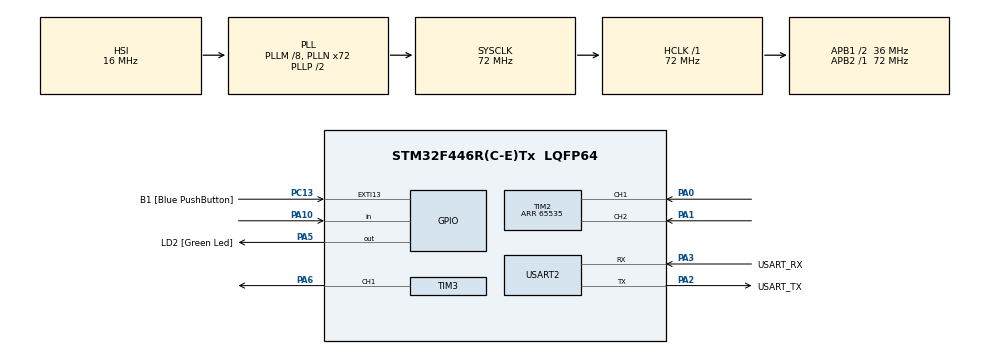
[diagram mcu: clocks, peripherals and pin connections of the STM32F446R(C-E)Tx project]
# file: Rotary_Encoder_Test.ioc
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Mcu.Family=STM32F4
Mcu.Name=STM32F446R(C-E)Tx
Mcu.Package=LQFP64
NVIC.PriorityGroup=NVIC_PRIORITYGROUP_0
PA0-WKUP.Signal=S_TIM2_CH1_ETR
PA1.Signal=S_TIM2_CH2
PA10.Signal=GPIO_Input
PA13.GPIO_Label=TMS
PA13.Mode=Serial_Wire
PA13.Signal=SYS_JTMS-SWDIO
PA14.GPIO_Label=TCK
PA14.Mode=Serial_Wire
PA14.Signal=SYS_JTCK-SWCLK
PA2.GPIO_Label=USART_TX
PA2.Mode=Asynchronous
PA2.Signal=USART2_TX
PA3.GPIO_Label=USART_RX
PA3.Mode=Asynchronous
PA3.Signal=USART2_RX
PA5.GPIO_Label=LD2 [Green Led]
PA5.Signal=GPIO_Output
PA6.Signal=S_TIM3_CH1
PB3.GPIO_Label=SWO
PB3.Signal=SYS_JTDO-SWO
PC13.GPIO_Label=B1 [Blue PushButton]
PC13.GPIO_ModeDefaultEXTI=GPIO_MODE_IT_FALLING
PC13.Signal=GPXTI13
PC14-OSC32_IN.Mode=LSE-External-Oscillator
PC14-OSC32_IN.Signal=RCC_OSC32_IN
PC15-OSC32_OUT.Mode=LSE-External-Oscillator
PC15-OSC32_OUT.Signal=RCC_OSC32_OUT
PH0-OSC_IN.Mode=HSE-External-Oscillator
PH0-OSC_IN.Signal=RCC_OSC_IN
PH1-OSC_OUT.Mode=HSE-External-Oscillator
PH1-OSC_OUT.Signal=RCC_OSC_OUT
ProjectManager.HeapSize=0x200
ProjectManager.StackSize=0x400
ProjectManager.TargetToolchain=STM32CubeIDE
RCC.48MHZClocksFreq_Value=84000000
RCC.AHBFreq_Value=72000000
RCC.APB1CLKDivider=RCC_HCLK_DIV2
RCC.APB1Freq_Value=36000000
RCC.APB1TimFreq_Value=72000000
RCC.APB2Freq_Value=72000000
RCC.APB2TimFreq_Value=72000000
RCC.CortexFreq_Value=72000000
RCC.FLatency-AdvancedSettings=FLASH_LATENCY_2
RCC.HCLKFreq_Value=72000000
RCC.HSE_VALUE=8000000
RCC.HSI_VALUE=16000000
RCC.PLLM=8
RCC.PLLN=72
RCC.SYSCLKFreq_VALUE=72000000
RCC.SYSCLKSource=RCC_SYSCLKSOURCE_PLLCLK
RCC.USBFreq_Value=72000000
RCC.VCOOutputFreq_Value=144000000
SH.S_TIM2_CH1_ETR.0=TIM2_CH1,Encoder_Interface
SH.S_TIM2_CH2.0=TIM2_CH2,Encoder_Interface
SH.S_TIM3_CH1.0=TIM3_CH1,PWM Generation1 CH1
TIM2.AutoReloadPreload=TIM_AUTORELOAD_PRELOAD_ENABLE
TIM2.EncoderMode=TIM_ENCODERMODE_TI12
TIM2.IC1Filter=10
TIM2.Period=65535
TIM3.AutoReloadPreload=TIM_AUTORELOAD_PRELOAD_ENABLE
TIM3.Channel-PWM\ Generation1\ CH1=TIM_CHANNEL_1
USART2.VirtualMode=VM_ASYNC
VP_TIM3_VS_ClockSourceINT.Mode=Internal
board=NUCLEO-F446RE

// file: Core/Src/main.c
/* USER CODE BEGIN Header */
/**
  ******************************************************************************
  * @file           : main.c
  * @brief          : Main program body
  ******************************************************************************
  * @attention
  *
  * Copyright (c) 2022 STMicroelectronics.
  * All rights reserved.
  *
  * This software is licensed under terms that can be found in the LICENSE file
  * in the root directory of this software component.
  * If no LICENSE file comes with this software, it is provided AS-IS.
  *
  ******************************************************************************
  */
/* USER CODE END Header */
#include "main.h"

 TIM_HandleTypeDef htim2;
TIM_HandleTypeDef htim3;

UART_HandleTypeDef huart2;

void SystemClock_Config(void);
static void MX_GPIO_Init(void);
static void MX_USART2_UART_Init(void);
static void MX_TIM2_Init(void);
static void MX_TIM3_Init(void);

int main(void)
{
  /* USER CODE BEGIN 1 */
  uint8_t serialMsg[50] = { 0 };
  uint16_t LED_DutyCycle = 0;
  /* USER CODE END 1 */

  /* MCU Configuration--------------------------------------------------------*/

  /* Reset of all peripherals, Initializes the Flash interface and the Systick. */
  HAL_Init();

  /* Configure the system clock */
  SystemClock_Config();

  /* Initialize all configured peripherals */
  MX_GPIO_Init();
  MX_USART2_UART_Init();
  MX_TIM2_Init();
  MX_TIM3_Init();
  /* USER CODE BEGIN 2 */
  HAL_TIM_Encoder_Start(&htim2, TIM_CHANNEL_ALL);
  HAL_TIM_PWM_Start(&htim3, TIM_CHANNEL_1);

  snprintf(serialMsg, sizeof(serialMsg), "Serial initialized\r\n");
  HAL_UART_Transmit(&huart2, serialMsg, sizeof(serialMsg), 100);
  /* USER CODE END 2 */

  /* Infinite loop */
  /* USER CODE BEGIN WHILE */
  while (1)
  {
	uint8_t* buttonState = "pressed";
	if (HAL_GPIO_ReadPin(GPIOA, GPIO_PIN_10)) {
		buttonState = "released";
	}

	// Note that the encoder has 4 increments between each "click" of its position. So we shift off the
	// last two bits when we're only interested in the number of clicks.
	snprintf(serialMsg, sizeof(serialMsg), "Encoder switch is %s, encoder value: %d\r\n",
			 buttonState, (int)((TIM2->CNT) >> 2));
	HAL_UART_Transmit(&huart2, serialMsg, sizeof(serialMsg), 100);

	// Operating range requires counter to be within 0-1023, otherwise just make it 0
	// This means plenty of error states but it's fine for a test project
	if(TIM2->CNT < 1023) {
		// Scale up the rotary encoder value to make its effect on the LED more visible
		LED_DutyCycle = ((TIM2->CNT)<<6);
	}
	TIM3->CCR1 = LED_DutyCycle;

	HAL_Delay(10);
    /* USER CODE END WHILE */

  }
}

void SystemClock_Config(void)
{
  RCC_OscInitTypeDef RCC_OscInitStruct = {0};
  RCC_ClkInitTypeDef RCC_ClkInitStruct = {0};

  /** Configure the main internal regulator output voltage
  */
  __HAL_RCC_PWR_CLK_ENABLE();
  __HAL_PWR_VOLTAGESCALING_CONFIG(PWR_REGULATOR_VOLTAGE_SCALE3);

  /** Initializes the RCC Oscillators according to the specified parameters
  * in the RCC_OscInitTypeDef structure.
  */
  RCC_OscInitStruct.OscillatorType = RCC_OSCILLATORTYPE_HSI;
  RCC_OscInitStruct.HSIState = RCC_HSI_ON;
  RCC_OscInitStruct.HSICalibrationValue = RCC_HSICALIBRATION_DEFAULT;
  RCC_OscInitStruct.PLL.PLLState = RCC_PLL_ON;
  RCC_OscInitStruct.PLL.PLLSource = RCC_PLLSOURCE_HSI;
  RCC_OscInitStruct.PLL.PLLM = 8;
  RCC_OscInitStruct.PLL.PLLN = 72;
  RCC_OscInitStruct.PLL.PLLP = RCC_PLLP_DIV2;
  RCC_OscInitStruct.PLL.PLLQ = 2;
  RCC_OscInitStruct.PLL.PLLR = 2;
  if (HAL_RCC_OscConfig(&RCC_OscInitStruct) != HAL_OK)
  {
    Error_Handler();
  }

  /** Initializes the CPU, AHB and APB buses clocks
  */
  RCC_ClkInitStruct.ClockType = RCC_CLOCKTYPE_HCLK|RCC_CLOCKTYPE_SYSCLK
                              |RCC_CLOCKTYPE_PCLK1|RCC_CLOCKTYPE_PCLK2;
  RCC_ClkInitStruct.SYSCLKSource = RCC_SYSCLKSOURCE_PLLCLK;
  RCC_ClkInitStruct.AHBCLKDivider = RCC_SYSCLK_DIV1;
  RCC_ClkInitStruct.APB1CLKDivider = RCC_HCLK_DIV2;
  RCC_ClkInitStruct.APB2CLKDivider = RCC_HCLK_DIV1;

  if (HAL_RCC_ClockConfig(&RCC_ClkInitStruct, FLASH_LATENCY_2) != HAL_OK)
  {
    Error_Handler();
  }
}

static void MX_TIM2_Init(void)
{

  TIM_Encoder_InitTypeDef sConfig = {0};
  TIM_MasterConfigTypeDef sMasterConfig = {0};

  htim2.Instance = TIM2;
  htim2.Init.Prescaler = 0;
  htim2.Init.CounterMode = TIM_COUNTERMODE_UP;
  htim2.Init.Period = 65535;
  htim2.Init.ClockDivision = TIM_CLOCKDIVISION_DIV1;
  htim2.Init.AutoReloadPreload = TIM_AUTORELOAD_PRELOAD_ENABLE;
  sConfig.EncoderMode = TIM_ENCODERMODE_TI12;
  sConfig.IC1Polarity = TIM_ICPOLARITY_RISING;
  sConfig.IC1Selection = TIM_ICSELECTION_DIRECTTI;
  sConfig.IC1Prescaler = TIM_ICPSC_DIV1;
  sConfig.IC1Filter = 10;
  sConfig.IC2Polarity = TIM_ICPOLARITY_RISING;
  sConfig.IC2Selection = TIM_ICSELECTION_DIRECTTI;
  sConfig.IC2Prescaler = TIM_ICPSC_DIV1;
  sConfig.IC2Filter = 0;
  if (HAL_TIM_Encoder_Init(&htim2, &sConfig) != HAL_OK)
  {
    Error_Handler();
  }
  sMasterConfig.MasterOutputTrigger = TIM_TRGO_RESET;
  sMasterConfig.MasterSlaveMode = TIM_MASTERSLAVEMODE_DISABLE;
  if (HAL_TIMEx_MasterConfigSynchronization(&htim2, &sMasterConfig) != HAL_OK)
  {
    Error_Handler();
  }

}

static void MX_TIM3_Init(void)
{

  TIM_ClockConfigTypeDef sClockSourceConfig = {0};
  TIM_MasterConfigTypeDef sMasterConfig = {0};
  TIM_OC_InitTypeDef sConfigOC = {0};

  htim3.Instance = TIM3;
  htim3.Init.Prescaler = 0;
  htim3.Init.CounterMode = TIM_COUNTERMODE_UP;
  htim3.Init.Period = 65535;
  htim3.Init.ClockDivision = TIM_CLOCKDIVISION_DIV1;
  htim3.Init.AutoReloadPreload = TIM_AUTORELOAD_PRELOAD_ENABLE;
  if (HAL_TIM_Base_Init(&htim3) != HAL_OK)
  {
    Error_Handler();
  }
  sClockSourceConfig.ClockSource = TIM_CLOCKSOURCE_INTERNAL;
  if (HAL_TIM_ConfigClockSource(&htim3, &sClockSourceConfig) != HAL_OK)
  {
    Error_Handler();
  }
  if (HAL_TIM_PWM_Init(&htim3) != HAL_OK)
  {
    Error_Handler();
  }
  sMasterConfig.MasterOutputTrigger = TIM_TRGO_RESET;
  sMasterConfig.MasterSlaveMode = TIM_MASTERSLAVEMODE_DISABLE;
  if (HAL_TIMEx_MasterConfigSynchronization(&htim3, &sMasterConfig) != HAL_OK)
  {
    Error_Handler();
  }
  sConfigOC.OCMode = TIM_OCMODE_PWM1;
  sConfigOC.Pulse = 0;
  sConfigOC.OCPolarity = TIM_OCPOLARITY_HIGH;
  sConfigOC.OCFastMode = TIM_OCFAST_DISABLE;
  if (HAL_TIM_PWM_ConfigChannel(&htim3, &sConfigOC, TIM_CHANNEL_1) != HAL_OK)
  {
    Error_Handler();
  }
  HAL_TIM_MspPostInit(&htim3);

}

static void MX_USART2_UART_Init(void)
{

  huart2.Instance = USART2;
  huart2.Init.BaudRate = 115200;
  huart2.Init.WordLength = UART_WORDLENGTH_8B;
  huart2.Init.StopBits = UART_STOPBITS_1;
  huart2.Init.Parity = UART_PARITY_NONE;
  huart2.Init.Mode = UART_MODE_TX_RX;
  huart2.Init.HwFlowCtl = UART_HWCONTROL_NONE;
  huart2.Init.OverSampling = UART_OVERSAMPLING_16;
  if (HAL_UART_Init(&huart2) != HAL_OK)
  {
    Error_Handler();
  }

}

static void MX_GPIO_Init(void)
{
  GPIO_InitTypeDef GPIO_InitStruct = {0};

  /* GPIO Ports Clock Enable */
  __HAL_RCC_GPIOC_CLK_ENABLE();
  __HAL_RCC_GPIOH_CLK_ENABLE();
  __HAL_RCC_GPIOA_CLK_ENABLE();
  __HAL_RCC_GPIOB_CLK_ENABLE();

  /*Configure GPIO pin Output Level */
  HAL_GPIO_WritePin(LD2_GPIO_Port, LD2_Pin, GPIO_PIN_RESET);

  /*Configure GPIO pin : B1_Pin */
  GPIO_InitStruct.Pin = B1_Pin;
  GPIO_InitStruct.Mode = GPIO_MODE_IT_FALLING;
  GPIO_InitStruct.Pull = GPIO_NOPULL;
  HAL_GPIO_Init(B1_GPIO_Port, &GPIO_InitStruct);

  /*Configure GPIO pin : LD2_Pin */
  GPIO_InitStruct.Pin = LD2_Pin;
  GPIO_InitStruct.Mode = GPIO_MODE_OUTPUT_PP;
  GPIO_InitStruct.Pull = GPIO_NOPULL;
  GPIO_InitStruct.Speed = GPIO_SPEED_FREQ_LOW;
  HAL_GPIO_Init(LD2_GPIO_Port, &GPIO_InitStruct);

  /*Configure GPIO pin : PA10 */
  GPIO_InitStruct.Pin = GPIO_PIN_10;
  GPIO_InitStruct.Mode = GPIO_MODE_INPUT;
  GPIO_InitStruct.Pull = GPIO_NOPULL;
  HAL_GPIO_Init(GPIOA, &GPIO_InitStruct);

}

void Error_Handler(void)
{
  __disable_irq();
  while (1)
  {
  }
}
